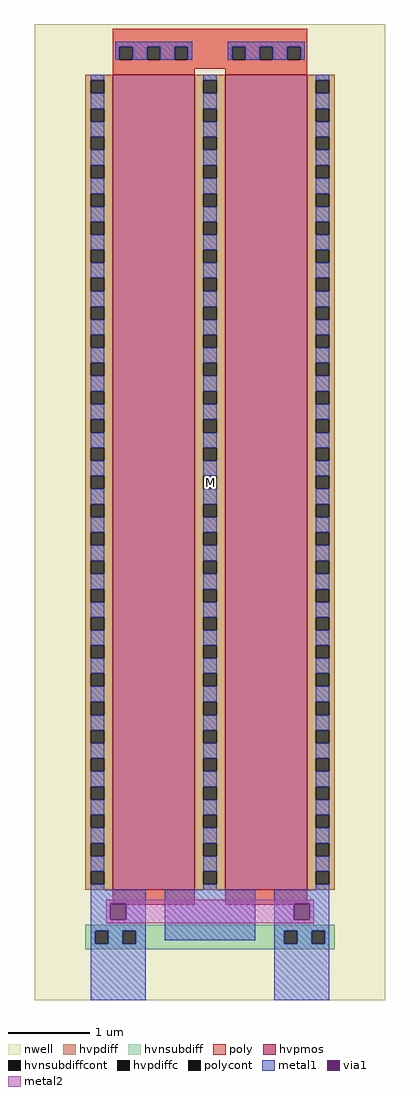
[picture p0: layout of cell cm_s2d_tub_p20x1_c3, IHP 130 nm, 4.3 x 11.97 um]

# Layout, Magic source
magic
tech ihp-sg13cmos5l
magscale 1 2
<< nwell >>
rect -124 -270 736 2124
<< hvnsubdiff >>
rect 0 -100 612 -86
rect 0 -132 24 -100
rect 56 -132 92 -100
rect 124 -132 488 -100
rect 520 -132 556 -100
rect 588 -132 612 -100
rect 0 -146 612 -132
<< hvnsubdiffcont >>
rect 24 -132 56 -100
rect 92 -132 124 -100
rect 488 -132 520 -100
rect 556 -132 588 -100
<< poly >>
rect 68 2068 544 2112
rect 68 2036 84 2068
rect 116 2036 152 2068
rect 184 2036 220 2068
rect 252 2036 360 2068
rect 392 2036 428 2068
rect 460 2036 496 2068
rect 528 2036 544 2068
rect 68 2014 544 2036
rect 68 2000 268 2014
rect 344 2000 544 2014
<< polycont >>
rect 84 2036 116 2068
rect 152 2036 184 2068
rect 220 2036 252 2068
rect 360 2036 392 2068
rect 428 2036 460 2068
rect 496 2036 528 2068
<< metal1 >>
rect 74 2068 262 2080
rect 74 2036 84 2068
rect 116 2036 152 2068
rect 184 2036 220 2068
rect 252 2036 262 2068
rect 350 2068 538 2080
rect 350 2036 360 2068
rect 392 2036 428 2068
rect 460 2036 496 2068
rect 528 2036 538 2068
rect 14 -33 148 0
rect 14 -73 61 -33
rect 101 -73 148 -33
rect 14 -100 148 -73
rect 14 -132 24 -100
rect 56 -132 92 -100
rect 124 -132 148 -100
rect 195 -124 417 0
rect 464 -33 598 0
rect 464 -73 511 -33
rect 551 -73 598 -33
rect 464 -100 598 -73
rect 14 -270 148 -132
rect 464 -132 488 -100
rect 520 -132 556 -100
rect 588 -132 598 -100
rect 464 -270 598 -132
<< via1 >>
rect 61 -73 101 -33
rect 511 -73 551 -33
<< metal2 >>
rect 52 -33 560 -24
rect 52 -73 61 -33
rect 101 -73 511 -33
rect 551 -73 560 -33
rect 52 -82 560 -73
use cm_s2d_pmosHV_w20_l1_ng2  cm_s2d_pmosHV_w20_l1_ng2_0
transform 1 0 0 0 1 0
box -124 -124 736 2124
<< labels >>
rlabel comment s 306 1000 306 1000 4 M
<< properties >>
string GDS_END 52212
string GDS_FILE custom_io/gds/sg13cmos5l_IOPadSingle2Diff.uniq.gds
string GDS_START 50586
<< end >>

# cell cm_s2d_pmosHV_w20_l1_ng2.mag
magic
tech ihp-sg13cmos5l
magscale 1 2
<< nwell >>
rect -124 -124 736 2124
<< hvpmos >>
rect 68 0 268 2000
rect 344 0 544 2000
<< hvpdiff >>
rect 0 1986 68 2000
rect 0 1954 14 1986
rect 46 1954 68 1986
rect 0 1916 68 1954
rect 0 1884 14 1916
rect 46 1884 68 1916
rect 0 1847 68 1884
rect 0 1815 14 1847
rect 46 1815 68 1847
rect 0 1778 68 1815
rect 0 1746 14 1778
rect 46 1746 68 1778
rect 0 1708 68 1746
rect 0 1676 14 1708
rect 46 1676 68 1708
rect 0 1639 68 1676
rect 0 1607 14 1639
rect 46 1607 68 1639
rect 0 1570 68 1607
rect 0 1538 14 1570
rect 46 1538 68 1570
rect 0 1501 68 1538
rect 0 1469 14 1501
rect 46 1469 68 1501
rect 0 1431 68 1469
rect 0 1399 14 1431
rect 46 1399 68 1431
rect 0 1362 68 1399
rect 0 1330 14 1362
rect 46 1330 68 1362
rect 0 1293 68 1330
rect 0 1261 14 1293
rect 46 1261 68 1293
rect 0 1223 68 1261
rect 0 1191 14 1223
rect 46 1191 68 1223
rect 0 1154 68 1191
rect 0 1122 14 1154
rect 46 1122 68 1154
rect 0 1085 68 1122
rect 0 1053 14 1085
rect 46 1053 68 1085
rect 0 1016 68 1053
rect 0 984 14 1016
rect 46 984 68 1016
rect 0 946 68 984
rect 0 914 14 946
rect 46 914 68 946
rect 0 877 68 914
rect 0 845 14 877
rect 46 845 68 877
rect 0 808 68 845
rect 0 776 14 808
rect 46 776 68 808
rect 0 738 68 776
rect 0 706 14 738
rect 46 706 68 738
rect 0 669 68 706
rect 0 637 14 669
rect 46 637 68 669
rect 0 600 68 637
rect 0 568 14 600
rect 46 568 68 600
rect 0 531 68 568
rect 0 499 14 531
rect 46 499 68 531
rect 0 461 68 499
rect 0 429 14 461
rect 46 429 68 461
rect 0 392 68 429
rect 0 360 14 392
rect 46 360 68 392
rect 0 323 68 360
rect 0 291 14 323
rect 46 291 68 323
rect 0 253 68 291
rect 0 221 14 253
rect 46 221 68 253
rect 0 184 68 221
rect 0 152 14 184
rect 46 152 68 184
rect 0 115 68 152
rect 0 83 14 115
rect 46 83 68 115
rect 0 46 68 83
rect 0 14 14 46
rect 46 14 68 46
rect 0 0 68 14
rect 268 1986 344 2000
rect 268 1954 290 1986
rect 322 1954 344 1986
rect 268 1916 344 1954
rect 268 1884 290 1916
rect 322 1884 344 1916
rect 268 1847 344 1884
rect 268 1815 290 1847
rect 322 1815 344 1847
rect 268 1778 344 1815
rect 268 1746 290 1778
rect 322 1746 344 1778
rect 268 1708 344 1746
rect 268 1676 290 1708
rect 322 1676 344 1708
rect 268 1639 344 1676
rect 268 1607 290 1639
rect 322 1607 344 1639
rect 268 1570 344 1607
rect 268 1538 290 1570
rect 322 1538 344 1570
rect 268 1501 344 1538
rect 268 1469 290 1501
rect 322 1469 344 1501
rect 268 1431 344 1469
rect 268 1399 290 1431
rect 322 1399 344 1431
rect 268 1362 344 1399
rect 268 1330 290 1362
rect 322 1330 344 1362
rect 268 1293 344 1330
rect 268 1261 290 1293
rect 322 1261 344 1293
rect 268 1223 344 1261
rect 268 1191 290 1223
rect 322 1191 344 1223
rect 268 1154 344 1191
rect 268 1122 290 1154
rect 322 1122 344 1154
rect 268 1085 344 1122
rect 268 1053 290 1085
rect 322 1053 344 1085
rect 268 1016 344 1053
rect 268 984 290 1016
rect 322 984 344 1016
rect 268 946 344 984
rect 268 914 290 946
rect 322 914 344 946
rect 268 877 344 914
rect 268 845 290 877
rect 322 845 344 877
rect 268 808 344 845
rect 268 776 290 808
rect 322 776 344 808
rect 268 738 344 776
rect 268 706 290 738
rect 322 706 344 738
rect 268 669 344 706
rect 268 637 290 669
rect 322 637 344 669
rect 268 600 344 637
rect 268 568 290 600
rect 322 568 344 600
rect 268 531 344 568
rect 268 499 290 531
rect 322 499 344 531
rect 268 461 344 499
rect 268 429 290 461
rect 322 429 344 461
rect 268 392 344 429
rect 268 360 290 392
rect 322 360 344 392
rect 268 323 344 360
rect 268 291 290 323
rect 322 291 344 323
rect 268 253 344 291
rect 268 221 290 253
rect 322 221 344 253
rect 268 184 344 221
rect 268 152 290 184
rect 322 152 344 184
rect 268 115 344 152
rect 268 83 290 115
rect 322 83 344 115
rect 268 46 344 83
rect 268 14 290 46
rect 322 14 344 46
rect 268 0 344 14
rect 544 1986 612 2000
rect 544 1954 566 1986
rect 598 1954 612 1986
rect 544 1916 612 1954
rect 544 1884 566 1916
rect 598 1884 612 1916
rect 544 1847 612 1884
rect 544 1815 566 1847
rect 598 1815 612 1847
rect 544 1778 612 1815
rect 544 1746 566 1778
rect 598 1746 612 1778
rect 544 1708 612 1746
rect 544 1676 566 1708
rect 598 1676 612 1708
rect 544 1639 612 1676
rect 544 1607 566 1639
rect 598 1607 612 1639
rect 544 1570 612 1607
rect 544 1538 566 1570
rect 598 1538 612 1570
rect 544 1501 612 1538
rect 544 1469 566 1501
rect 598 1469 612 1501
rect 544 1431 612 1469
rect 544 1399 566 1431
rect 598 1399 612 1431
rect 544 1362 612 1399
rect 544 1330 566 1362
rect 598 1330 612 1362
rect 544 1293 612 1330
rect 544 1261 566 1293
rect 598 1261 612 1293
rect 544 1223 612 1261
rect 544 1191 566 1223
rect 598 1191 612 1223
rect 544 1154 612 1191
rect 544 1122 566 1154
rect 598 1122 612 1154
rect 544 1085 612 1122
rect 544 1053 566 1085
rect 598 1053 612 1085
rect 544 1016 612 1053
rect 544 984 566 1016
rect 598 984 612 1016
rect 544 946 612 984
rect 544 914 566 946
rect 598 914 612 946
rect 544 877 612 914
rect 544 845 566 877
rect 598 845 612 877
rect 544 808 612 845
rect 544 776 566 808
rect 598 776 612 808
rect 544 738 612 776
rect 544 706 566 738
rect 598 706 612 738
rect 544 669 612 706
rect 544 637 566 669
rect 598 637 612 669
rect 544 600 612 637
rect 544 568 566 600
rect 598 568 612 600
rect 544 531 612 568
rect 544 499 566 531
rect 598 499 612 531
rect 544 461 612 499
rect 544 429 566 461
rect 598 429 612 461
rect 544 392 612 429
rect 544 360 566 392
rect 598 360 612 392
rect 544 323 612 360
rect 544 291 566 323
rect 598 291 612 323
rect 544 253 612 291
rect 544 221 566 253
rect 598 221 612 253
rect 544 184 612 221
rect 544 152 566 184
rect 598 152 612 184
rect 544 115 612 152
rect 544 83 566 115
rect 598 83 612 115
rect 544 46 612 83
rect 544 14 566 46
rect 598 14 612 46
rect 544 0 612 14
<< hvpdiffc >>
rect 14 1954 46 1986
rect 14 1884 46 1916
rect 14 1815 46 1847
rect 14 1746 46 1778
rect 14 1676 46 1708
rect 14 1607 46 1639
rect 14 1538 46 1570
rect 14 1469 46 1501
rect 14 1399 46 1431
rect 14 1330 46 1362
rect 14 1261 46 1293
rect 14 1191 46 1223
rect 14 1122 46 1154
rect 14 1053 46 1085
rect 14 984 46 1016
rect 14 914 46 946
rect 14 845 46 877
rect 14 776 46 808
rect 14 706 46 738
rect 14 637 46 669
rect 14 568 46 600
rect 14 499 46 531
rect 14 429 46 461
rect 14 360 46 392
rect 14 291 46 323
rect 14 221 46 253
rect 14 152 46 184
rect 14 83 46 115
rect 14 14 46 46
rect 290 1954 322 1986
rect 290 1884 322 1916
rect 290 1815 322 1847
rect 290 1746 322 1778
rect 290 1676 322 1708
rect 290 1607 322 1639
rect 290 1538 322 1570
rect 290 1469 322 1501
rect 290 1399 322 1431
rect 290 1330 322 1362
rect 290 1261 322 1293
rect 290 1191 322 1223
rect 290 1122 322 1154
rect 290 1053 322 1085
rect 290 984 322 1016
rect 290 914 322 946
rect 290 845 322 877
rect 290 776 322 808
rect 290 706 322 738
rect 290 637 322 669
rect 290 568 322 600
rect 290 499 322 531
rect 290 429 322 461
rect 290 360 322 392
rect 290 291 322 323
rect 290 221 322 253
rect 290 152 322 184
rect 290 83 322 115
rect 290 14 322 46
rect 566 1954 598 1986
rect 566 1884 598 1916
rect 566 1815 598 1847
rect 566 1746 598 1778
rect 566 1676 598 1708
rect 566 1607 598 1639
rect 566 1538 598 1570
rect 566 1469 598 1501
rect 566 1399 598 1431
rect 566 1330 598 1362
rect 566 1261 598 1293
rect 566 1191 598 1223
rect 566 1122 598 1154
rect 566 1053 598 1085
rect 566 984 598 1016
rect 566 914 598 946
rect 566 845 598 877
rect 566 776 598 808
rect 566 706 598 738
rect 566 637 598 669
rect 566 568 598 600
rect 566 499 598 531
rect 566 429 598 461
rect 566 360 598 392
rect 566 291 598 323
rect 566 221 598 253
rect 566 152 598 184
rect 566 83 598 115
rect 566 14 598 46
<< poly >>
rect 68 2000 268 2036
rect 344 2000 544 2036
rect 68 -36 268 0
rect 344 -36 544 0
<< metal1 >>
rect 14 1986 46 2000
rect 14 1916 46 1954
rect 14 1847 46 1884
rect 14 1778 46 1815
rect 14 1708 46 1746
rect 14 1639 46 1676
rect 14 1570 46 1607
rect 14 1501 46 1538
rect 14 1431 46 1469
rect 14 1362 46 1399
rect 14 1293 46 1330
rect 14 1223 46 1261
rect 14 1154 46 1191
rect 14 1085 46 1122
rect 14 1016 46 1053
rect 14 946 46 984
rect 14 877 46 914
rect 14 808 46 845
rect 14 738 46 776
rect 14 669 46 706
rect 14 600 46 637
rect 14 531 46 568
rect 14 461 46 499
rect 14 392 46 429
rect 14 323 46 360
rect 14 253 46 291
rect 14 184 46 221
rect 14 115 46 152
rect 14 46 46 83
rect 14 0 46 14
rect 290 1986 322 2000
rect 290 1916 322 1954
rect 290 1847 322 1884
rect 290 1778 322 1815
rect 290 1708 322 1746
rect 290 1639 322 1676
rect 290 1570 322 1607
rect 290 1501 322 1538
rect 290 1431 322 1469
rect 290 1362 322 1399
rect 290 1293 322 1330
rect 290 1223 322 1261
rect 290 1154 322 1191
rect 290 1085 322 1122
rect 290 1016 322 1053
rect 290 946 322 984
rect 290 877 322 914
rect 290 808 322 845
rect 290 738 322 776
rect 290 669 322 706
rect 290 600 322 637
rect 290 531 322 568
rect 290 461 322 499
rect 290 392 322 429
rect 290 323 322 360
rect 290 253 322 291
rect 290 184 322 221
rect 290 115 322 152
rect 290 46 322 83
rect 290 0 322 14
rect 566 1986 598 2000
rect 566 1916 598 1954
rect 566 1847 598 1884
rect 566 1778 598 1815
rect 566 1708 598 1746
rect 566 1639 598 1676
rect 566 1570 598 1607
rect 566 1501 598 1538
rect 566 1431 598 1469
rect 566 1362 598 1399
rect 566 1293 598 1330
rect 566 1223 598 1261
rect 566 1154 598 1191
rect 566 1085 598 1122
rect 566 1016 598 1053
rect 566 946 598 984
rect 566 877 598 914
rect 566 808 598 845
rect 566 738 598 776
rect 566 669 598 706
rect 566 600 598 637
rect 566 531 598 568
rect 566 461 598 499
rect 566 392 598 429
rect 566 323 598 360
rect 566 253 598 291
rect 566 184 598 221
rect 566 115 598 152
rect 566 46 598 83
rect 566 0 598 14
<< labels >>
flabel comment s 168 1000 168 1000 0 FreeSans 200 90 0 0 pmosHV
<< properties >>
string GDS_END 6984
string GDS_FILE custom_io/gds/sg13cmos5l_IOPadSingle2Diff.uniq.gds
string GDS_START 118
<< end >>
